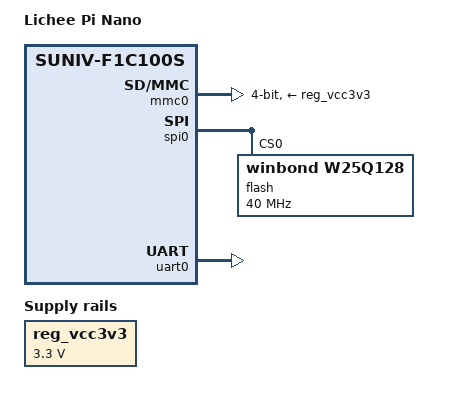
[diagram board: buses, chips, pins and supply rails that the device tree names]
// SPDX-License-Identifier: (GPL-2.0+ OR X11)
/*
 * Copyright 2018 Icenowy Zheng <icenowy@aosc.io>
 */

/dts-v1/;
#include "suniv-f1c100s.dtsi"

/ {
	model = "Lichee Pi Nano";
	compatible = "licheepi,licheepi-nano", "allwinner,suniv-f1c100s";

	aliases {
		mmc0 = &mmc0;
		serial0 = &uart0;
		spi0 = &spi0;
	};

	chosen {
		stdout-path = "serial0:115200n8";
	};

	reg_vcc3v3: vcc3v3 {
		compatible = "regulator-fixed";
		regulator-name = "vcc3v3";
		regulator-min-microvolt = <3300000>;
		regulator-max-microvolt = <3300000>;
	};
};

&mmc0 {
	broken-cd;
	bus-width = <4>;
	disable-wp;
	status = "okay";
	vmmc-supply = <&reg_vcc3v3>;
};

&spi0 {
	pinctrl-names = "default";
	pinctrl-0 = <&spi0_pc_pins>;
	status = "okay";

	flash@0 {
		#address-cells = <1>;
		#size-cells = <1>;
		compatible = "winbond,w25q128", "jedec,spi-nor";
		reg = <0>;
		spi-max-frequency = <40000000>;
	};
};

&uart0 {
	pinctrl-names = "default";
	pinctrl-0 = <&uart0_pe_pins>;
	status = "okay";
};
